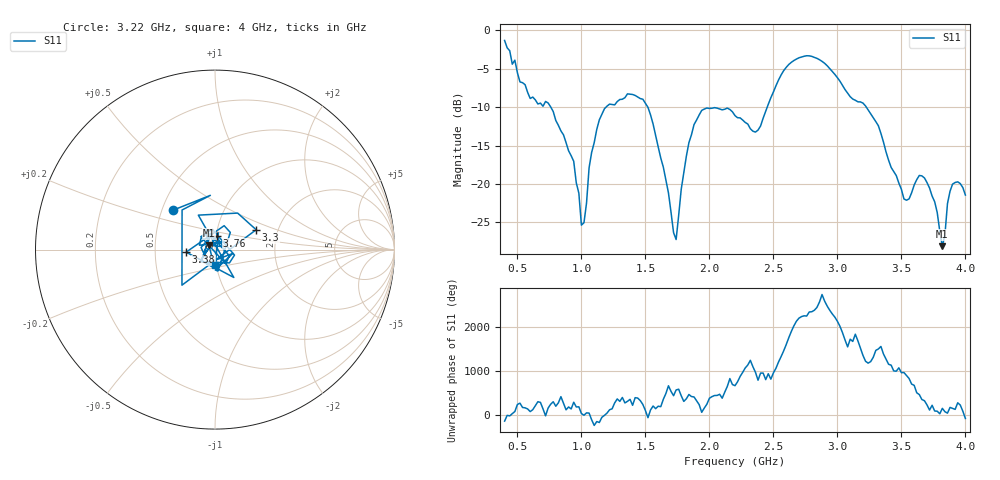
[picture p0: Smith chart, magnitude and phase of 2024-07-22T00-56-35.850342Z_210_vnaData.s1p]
!Created with skrf (http://scikit-rf.org).
# Hz S RI R 50.0
!freq ReS11 ImS11
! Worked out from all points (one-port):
!   181 points, 400 MHz to 4 GHz, reference 50 ohm
!   lowest |S11| = -28.1 dB at 3.82 GHz (marker M1), VSWR 1.08, Z = 46.9 + j2.22 ohm
!   |S11| at or under -10 dB: 760.8 MHz to 1.193 GHz (431.9 MHz wide, 44.2 % of centre); 1.519 GHz to 2.452 GHz (932.8 MHz wide, 47 % of centre); 3.226 GHz to end of sweep
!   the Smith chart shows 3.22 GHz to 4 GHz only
!   S11 on the Smith chart (normalised r, x): 3.22 GHz: 0.57, +0.28; 3.3 GHz: 1.54, +0.37; 3.38 GHz: 0.72, -0.02; 3.76 GHz: 1.01, +0.15; 4 GHz: 0.99, -0.17
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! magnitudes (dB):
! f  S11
! 400 MHz  -1.3
! 600 MHz  -8.9
! 860 MHz  -13.6
! 940 MHz  -17.1
! 1 GHz  -25.3
! 1.14 GHz  -11.7
! 1.3 GHz  -9.0
! 1.52 GHz  -10.0
! 1.64 GHz  -17.8
! 1.72 GHz  -26.3
! 1.74 GHz  -27.2
! 1.76 GHz  -24.1
! 1.84 GHz  -14.6
! 1.94 GHz  -10.4
! 2.2 GHz  -11.1
! 2.38 GHz  -13.0
! 2.66 GHz  -3.9
! 2.88 GHz  -4.1
! 3.1 GHz  -8.6
! 3.22 GHz  -9.9
! 3.3 GHz  -11.9
! 3.38 GHz  -15.8
! 3.56 GHz  -21.9
! 3.64 GHz  -18.9
! 3.76 GHz  -22.3
! 3.82 GHz  -28.1
! 3.9 GHz  -20.0
! 4 GHz  -21.4
